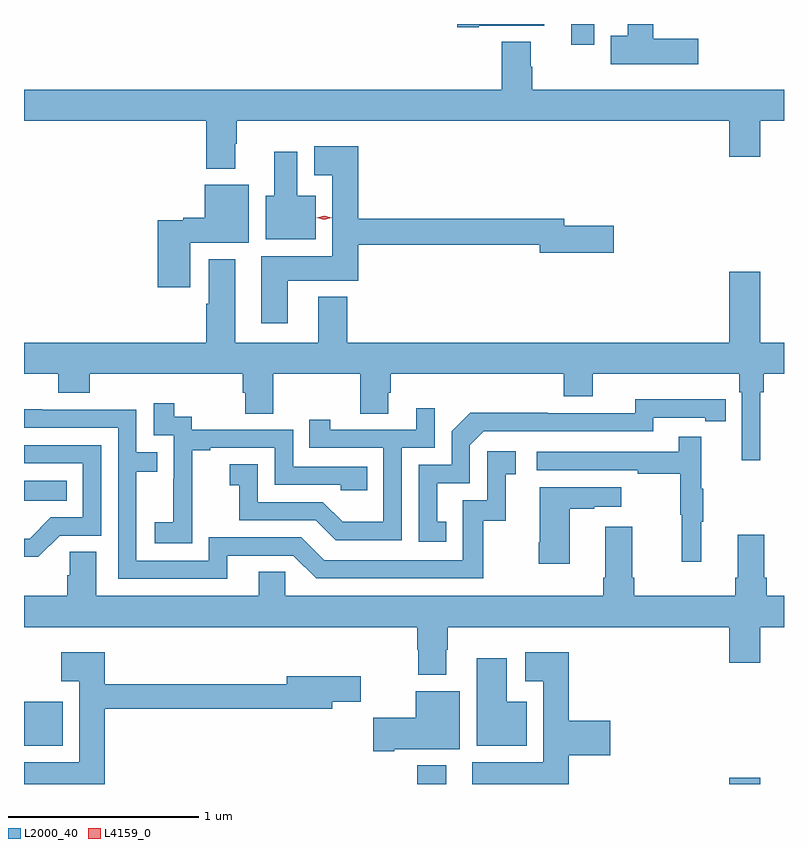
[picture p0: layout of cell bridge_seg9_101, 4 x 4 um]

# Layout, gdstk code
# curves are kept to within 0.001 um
import gdstk
lib = gdstk.Library(unit=1e-6, precision=1e-09)
def R(c, l, rs):  # rectangles x0, y0, x1, y1
    for r in rs: c.add(gdstk.rectangle(r[:2], r[2:], *l))
def P(c, l, *ps):  # polygons
    for p in ps: c.add(gdstk.Polygon(p, *l))
L2000_40 = (2000, 40)
L4159_0 = (4159, 0)

bridge_seg9_101 = lib.new_cell('bridge_seg9_101')
R(bridge_seg9_101, L2000_40, [(738.791,1196.926,738.943,1197.025), (740.432,1196.926,740.596,1196.959), (736.721,1197.128,736.924,1197.358), (736.721,1198.418,736.946,1198.522), (739.601,1200.816,739.723,1200.926)])
P(bridge_seg9_101, L2000_40, [(740.269,1200.848),(740.033,1200.848),(740.033,1200.926),(739.898,1200.926),(739.898,1200.865),(739.808,1200.865),(739.808,1200.713),(740.269,1200.713)],
  [(739.114,1200.917),(739.459,1200.917),(739.459,1200.926),(739.002,1200.926),(739.002,1200.91),(739.114,1200.91)],
  [(737.833,1200.296),(737.841,1200.296),(737.841,1200.416),(740.432,1200.416),(740.432,1200.228),(740.596,1200.228),(740.596,1200.416),(740.721,1200.416),(740.721,1200.58),(739.395,1200.58),(739.395,1200.701),(739.387,1200.701),(739.387,1200.832),(739.235,1200.832),(739.235,1200.58),(736.721,1200.58),(736.721,1200.416),(737.681,1200.416),(737.681,1200.164),(737.833,1200.164)],
  [(738.109,1199.576),(738.479,1199.576),(738.479,1199.764),(739.436,1199.764),(739.436,1199.722),(739.825,1199.722),(739.825,1199.864),(739.564,1199.864),(739.564,1199.9),(738.479,1199.9),(738.479,1200.283),(738.249,1200.283),(738.249,1200.131),(738.344,1200.131),(738.344,1199.704),(737.969,1199.704),(737.969,1199.352),(738.109,1199.352)],
  [(738.256,1200.022),(738.16,1200.022),(738.16,1200.253),(738.038,1200.253),(738.038,1200.022),(737.993,1200.022),(737.993,1199.792),(738.256,1199.792)],
  [(737.596,1199.774),(737.905,1199.774),(737.905,1200.079),(737.672,1200.079),(737.672,1199.906),(737.559,1199.906),(737.559,1199.893),(737.426,1199.893),(737.426,1199.541),(737.596,1199.541)],
  [(740.596,1198.988),(740.615,1198.988),(740.615,1199.084),(740.721,1199.084),(740.721,1199.248),(740.596,1199.248),(740.596,1199.623),(740.432,1199.623),(740.432,1199.248),(738.422,1199.248),(738.422,1199.491),(738.269,1199.491),(738.269,1199.248),(737.833,1199.248),(737.833,1199.689),(737.693,1199.689),(737.693,1199.453),(737.681,1199.453),(737.681,1199.248),(736.721,1199.248),(736.721,1199.084),(736.901,1199.084),(736.901,1198.985),(737.066,1198.985),(737.066,1199.084),(737.873,1199.084),(737.873,1198.986),(737.885,1198.986),(737.885,1198.876),(738.033,1198.876),(738.033,1199.084),(738.49,1199.084),(738.49,1198.876),(738.637,1198.876),(738.637,1198.986),(738.65,1198.986),(738.65,1199.084),(739.562,1199.084),(739.562,1198.967),(739.714,1198.967),(739.714,1199.084),(740.486,1199.084),(740.486,1198.988),(740.499,1198.988),(740.499,1198.629),(740.596,1198.629)],
  [(738.944,1198.305),(738.895,1198.305),(738.895,1198.509),(739.068,1198.509),(739.068,1198.71),(739.14,1198.782),(740.034,1198.782),(740.034,1198.854),(740.306,1198.854),(740.306,1198.834),(740.414,1198.834),(740.414,1198.95),(739.938,1198.951),(739.938,1198.878),(739.478,1198.878),(739.478,1198.88),(739.07,1198.88),(738.972,1198.782),(738.972,1198.605),(738.798,1198.605),(738.798,1198.2),(738.944,1198.2)],
  [(737.607,1198.399),(737.606,1198.399),(737.606,1198.683),(737.701,1198.683),(737.701,1198.695),(738.042,1198.695),(738.042,1198.5),(738.387,1198.5),(738.387,1198.473),(738.527,1198.473),(738.527,1198.596),(738.138,1198.596),(738.138,1198.791),(737.604,1198.791),(737.604,1198.86),(737.512,1198.86),(737.512,1198.93),(737.403,1198.93),(737.403,1198.761),(737.508,1198.761),(737.508,1198.532),(737.507,1198.532),(737.507,1198.303),(737.409,1198.303),(737.409,1198.193),(737.607,1198.193)],
  [(738.708,1198.695),(738.882,1198.695),(738.882,1198.903),(738.785,1198.903),(738.785,1198.791),(738.334,1198.791),(738.334,1198.843),(738.223,1198.843),(738.223,1198.695),(738.612,1198.695),(738.612,1198.306),(738.398,1198.306),(738.294,1198.41),(737.952,1198.41),(737.952,1198.609),(737.805,1198.609),(737.805,1198.499),(737.854,1198.499),(737.854,1198.314),(738.257,1198.314),(738.362,1198.209),(738.708,1198.209)],
  [(737.791,1198.128),(738.138,1198.128),(738.258,1198.008),(739.138,1198.008),(739.138,1198.311),(739.256,1198.311),(739.256,1198.557),(739.309,1198.557),(739.309,1198.678),(739.158,1198.678),(739.158,1198.419),(739.029,1198.419),(739.029,1198.104),(738.3,1198.104),(738.18,1198.224),(737.694,1198.224),(737.694,1198.101),(737.313,1198.101),(737.313,1198.57),(737.423,1198.57),(737.423,1198.671),(737.313,1198.671),(737.313,1198.896),(736.817,1198.896),(736.817,1198.898),(736.721,1198.898),(736.721,1198.8),(737.217,1198.8),(737.217,1198.005),(737.791,1198.005)],
  [(740.285,1198.307),(740.296,1198.307),(740.296,1198.481),(740.285,1198.481),(740.285,1198.753),(740.167,1198.753),(740.167,1198.674),(739.419,1198.674),(739.419,1198.578),(739.951,1198.578),(739.951,1198.558),(740.175,1198.558),(740.175,1198.344),(740.182,1198.344),(740.182,1198.095),(740.285,1198.095)],
  [(736.908,1198.233),(737.127,1198.233),(737.127,1198.71),(736.721,1198.71),(736.721,1198.614),(737.031,1198.614),(737.031,1198.329),(736.862,1198.329),(736.751,1198.218),(736.721,1198.218),(736.721,1198.121),(736.795,1198.121)],
  [(739.594,1198.375),(739.721,1198.375),(739.721,1198.385),(739.864,1198.385),(739.864,1198.489),(739.436,1198.489),(739.436,1198.198),(739.429,1198.198),(739.429,1198.086),(739.594,1198.086)],
  [(738.943,1197.632),(738.951,1197.632),(738.951,1197.752),(740.432,1197.752),(740.432,1197.564),(740.596,1197.564),(740.596,1197.752),(740.721,1197.752),(740.721,1197.916),(740.63,1197.916),(740.63,1198.012),(740.617,1198.012),(740.617,1198.237),(740.477,1198.237),(740.477,1198.012),(740.465,1198.012),(740.465,1197.916),(739.934,1197.916),(739.934,1198.012),(739.921,1198.012),(739.921,1198.279),(739.781,1198.279),(739.781,1198.012),(739.769,1198.012),(739.769,1197.916),(738.096,1197.916),(738.096,1198.043),(737.957,1198.043),(737.957,1197.916),(737.101,1197.916),(737.101,1198.148),(736.962,1198.148),(736.962,1198.025),(736.949,1198.025),(736.949,1197.916),(736.721,1197.916),(736.721,1197.752),(738.791,1197.752),(738.791,1197.632),(738.796,1197.632),(738.796,1197.5),(738.943,1197.5)],
  [(739.589,1197.077),(739.807,1197.077),(739.807,1197.26),(739.589,1197.26),(739.589,1197.619),(739.359,1197.619),(739.359,1197.467),(739.454,1197.467),(739.454,1197.04),(739.079,1197.04),(739.079,1196.926),(739.589,1196.926)],
  [(737.147,1197.322),(738.343,1197.322),(738.343,1197.359),(738.493,1197.359),(738.493,1197.493),(738.104,1197.493),(738.104,1197.451),(737.147,1197.451),(737.147,1197.619),(736.917,1197.619),(736.917,1197.467),(737.012,1197.467),(737.012,1197.04),(736.721,1197.04),(736.721,1196.926),(737.147,1196.926)],
  [(739.366,1197.358),(739.261,1197.358),(739.261,1197.589),(739.103,1197.589),(739.103,1197.128),(739.366,1197.128)],
  [(738.67,1197.11),(739.015,1197.11),(739.015,1197.415),(738.782,1197.415),(738.782,1197.276),(738.558,1197.276),(738.558,1197.098),(738.67,1197.098)])
P(bridge_seg9_101, L4159_0, [(738.301,1199.896),(738.261,1199.906),(738.261,1199.906),(738.261,1199.906),(738.301,1199.916),(738.34,1199.906),(738.34,1199.906),(738.34,1199.906)])

lib.write_gds('bridge_seg9_101.gds')
